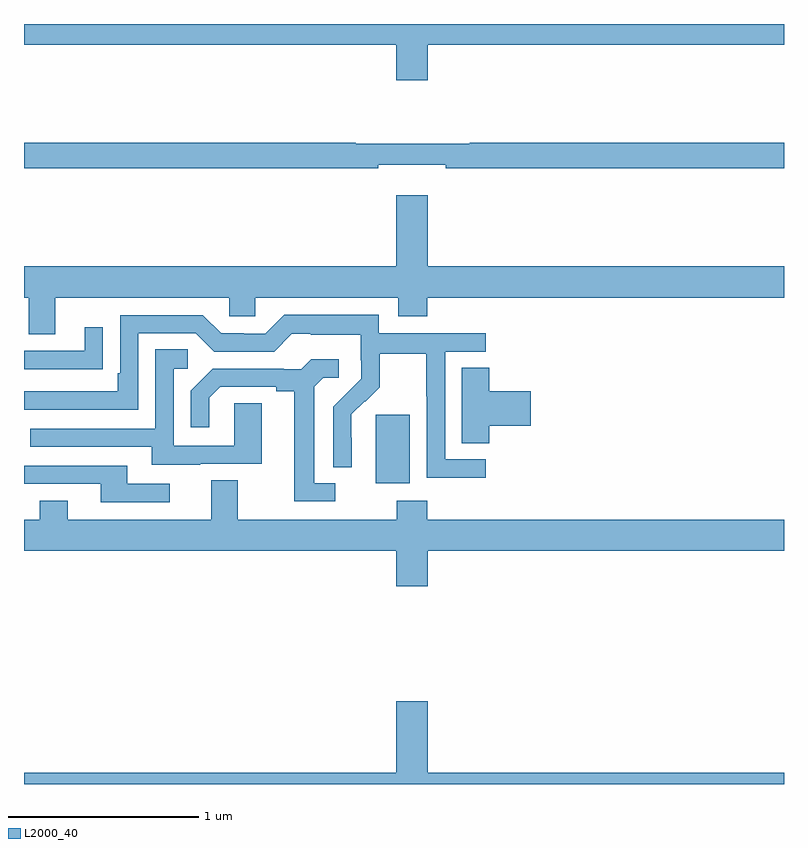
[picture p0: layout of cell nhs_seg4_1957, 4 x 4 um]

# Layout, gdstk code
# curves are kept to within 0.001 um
import gdstk
lib = gdstk.Library(unit=1e-6, precision=1e-09)
def R(c, l, rs):  # rectangles x0, y0, x1, y1
    for r in rs: c.add(gdstk.rectangle(r[:2], r[2:], *l))
def P(c, l, *ps):  # polygons
    for p in ps: c.add(gdstk.Polygon(p, *l))
L2000_40 = (2000, 40)

nhs_seg4_1957 = lib.new_cell('nhs_seg4_1957')
R(nhs_seg4_1957, L2000_40, [(212.852,822.482,213.031,822.843)])
P(nhs_seg4_1957, L2000_40, [(213.124,824.792),(215,824.792),(215,824.9),(211,824.9),(211,824.792),(212.96,824.792),(212.96,824.604),(213.124,824.604)],
  [(212.864,824.159),(213.22,824.159),(213.22,824.14),(215,824.14),(215,824.276),(213.347,824.276),(213.347,824.269),(212.747,824.269),(212.747,824.276),(211,824.276),(211,824.14),(212.864,824.14)],
  [(211.165,823.46),(212.079,823.46),(212.079,823.362),(212.217,823.362),(212.217,823.46),(212.969,823.46),(212.969,823.361),(213.122,823.361),(213.122,823.46),(215,823.46),(215,823.624),(213.124,823.624),(213.124,823.999),(212.96,823.999),(212.96,823.624),(211,823.624),(211,823.46),(211.025,823.46),(211.025,823.266),(211.165,823.266)],
  [(213.43,822.609),(213.216,822.609),(213.216,823.176),(213.43,823.176),(213.43,823.272),(212.868,823.272),(212.868,823.369),(212.371,823.369),(212.271,823.269),(212.156,823.269),(212.156,823.272),(212.037,823.272),(211.941,823.368),(211.506,823.368),(211.506,823.063),(211.493,823.063),(211.493,822.966),(211,822.966),(211,822.87),(211.602,822.87),(211.602,823.272),(211.905,823.272),(212.001,823.176),(212.316,823.176),(212.409,823.269),(212.509,823.269),(212.509,823.265),(212.772,823.265),(212.772,823.131),(212.774,823.131),(212.774,823.034),(212.628,822.886),(212.628,822.568),(212.724,822.568),(212.723,822.845),(212.793,822.915),(212.796,822.912),(212.873,822.989),(212.873,823.164),(213.118,823.164),(213.118,822.94),(213.12,822.94),(213.12,822.511),(213.43,822.511)],
  [(211.313,823.084),(211.415,823.084),(211.415,823.303),(211.319,823.303),(211.319,823.179),(211,823.179),(211,823.083),(211.313,823.083)],
  [(211.927,822.585),(212.251,822.585),(212.251,822.905),(212.106,822.905),(212.106,822.681),(211.788,822.681),(211.788,823.086),(211.861,823.086),(211.861,823.187),(211.692,823.187),(211.692,822.771),(211.033,822.771),(211.033,822.675),(211.673,822.675),(211.673,822.581),(211.927,822.581)],
  [(212.638,822.483),(212.527,822.483),(212.527,822.991),(212.574,823.038),(212.656,823.038),(212.656,823.135),(212.512,823.135),(212.46,823.083),(212.366,823.083),(212.366,823.086),(211.994,823.086),(211.878,822.97),(211.878,822.777),(211.975,822.777),(211.975,822.933),(212.032,822.99),(212.327,822.99),(212.327,822.968),(212.423,822.968),(212.423,822.387),(212.638,822.387)],
  [(213.449,822.785),(213.667,822.785),(213.667,822.968),(213.449,822.968),(213.449,823.091),(213.305,823.091),(213.305,822.694),(213.449,822.694)],
  [(211.768,822.48),(211.543,822.48),(211.543,822.576),(211,822.576),(211,822.48),(211.403,822.48),(211.403,822.384),(211.768,822.384)],
  [(213.124,822.128),(215,822.128),(215,822.292),(213.122,822.292),(213.122,822.391),(212.962,822.391),(212.962,822.292),(212.125,822.292),(212.125,822.5),(211.985,822.5),(211.985,822.292),(211.231,822.292),(211.231,822.391),(211.084,822.391),(211.084,822.292),(211,822.292),(211,822.128),(212.96,822.128),(212.96,821.94),(213.124,821.94)],
  [(215,820.96),(213.124,820.96),(213.124,821.335),(212.96,821.335),(212.96,820.96),(211,820.96),(211,820.9),(215,820.9)])

lib.write_gds('nhs_seg4_1957.gds')
